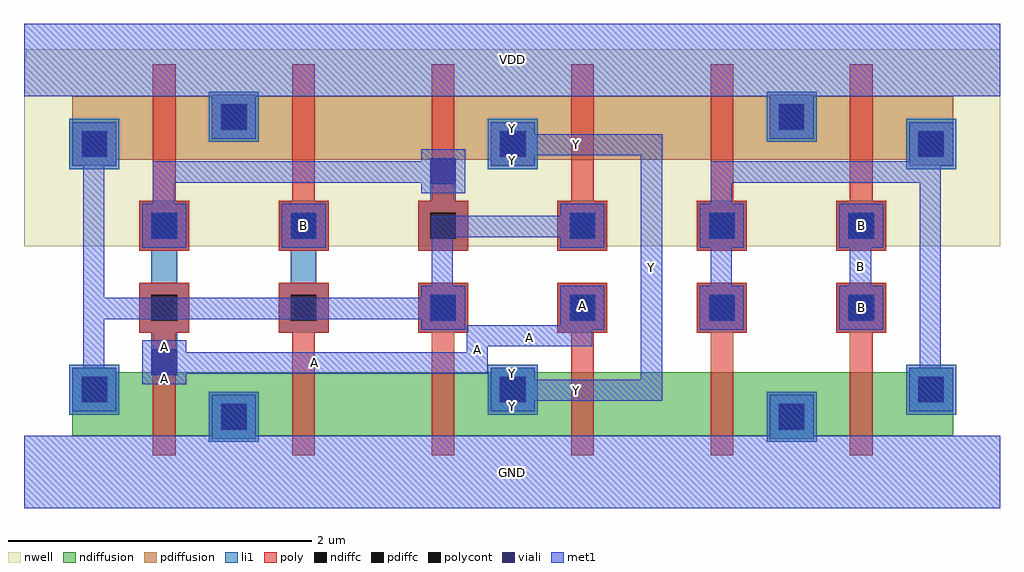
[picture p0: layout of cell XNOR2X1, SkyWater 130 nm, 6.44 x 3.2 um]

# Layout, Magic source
magic
# Generated by librecell
tech sky130A
<< nwell >>
rect 0 149 644 272
rect 1 272 644 279
<< viali >>
rect 130 28 147 45
rect 498 28 515 45
rect 38 46 55 63
rect 314 46 331 63
rect 590 46 607 63
rect 84 64 101 81
rect 268 100 285 117
rect 360 100 377 117
rect 452 100 469 117
rect 544 100 561 117
rect 84 154 101 171
rect 176 154 193 171
rect 360 154 377 171
rect 452 154 469 171
rect 544 154 561 171
rect 268 190 285 207
rect 38 208 55 225
rect 314 208 331 225
rect 590 208 607 225
rect 130 226 147 243
rect 498 226 515 243
<< poly >>
rect 85 11 100 92
rect 76 92 109 125
rect 177 11 192 92
rect 168 92 201 125
rect 269 11 284 92
rect 260 92 293 125
rect 361 11 376 92
rect 352 92 385 125
rect 453 11 468 92
rect 444 92 477 125
rect 545 11 560 92
rect 536 92 569 125
rect 76 146 109 179
rect 85 179 100 269
rect 168 146 201 179
rect 177 179 192 269
rect 260 146 293 179
rect 269 179 284 269
rect 352 146 385 179
rect 361 179 376 269
rect 444 146 477 179
rect 453 179 468 269
rect 536 146 569 179
rect 545 179 560 269
<< properties >>
string FIXED_BBOX 0 0 644 272
<< li1 >>
rect 122 20 155 53
rect 490 20 523 53
rect 30 38 63 71
rect 306 38 339 71
rect 582 38 615 71
rect 260 92 293 125
rect 352 92 385 125
rect 444 92 477 125
rect 536 92 569 125
rect 84 64 101 92
rect 76 92 109 125
rect 84 125 101 146
rect 76 146 109 179
rect 168 92 201 125
rect 176 125 193 146
rect 168 146 201 179
rect 352 146 385 179
rect 444 146 477 179
rect 536 146 569 179
rect 260 146 293 179
rect 268 179 285 207
rect 30 200 63 233
rect 306 200 339 233
rect 582 200 615 233
rect 122 218 155 251
rect 490 218 523 251
<< met1 >>
rect 0 -24 644 24
rect 124 24 153 51
rect 492 24 521 51
rect 78 58 107 65
rect 78 65 306 79
rect 292 79 306 83
rect 78 79 107 87
rect 292 83 375 94
rect 292 94 383 97
rect 354 97 383 123
rect 170 148 199 177
rect 538 94 567 123
rect 545 123 559 148
rect 538 148 567 177
rect 78 148 107 177
rect 85 177 99 191
rect 262 184 291 191
rect 85 191 291 205
rect 262 205 291 213
rect 32 40 61 69
rect 39 69 53 101
rect 262 94 291 101
rect 39 101 291 115
rect 262 115 291 123
rect 269 123 283 155
rect 354 148 383 155
rect 269 155 383 169
rect 354 169 383 177
rect 39 115 53 202
rect 32 202 61 231
rect 308 40 337 47
rect 308 47 421 61
rect 308 61 337 69
rect 308 202 337 209
rect 407 61 421 209
rect 308 209 421 223
rect 308 223 337 231
rect 584 40 613 69
rect 446 94 475 123
rect 453 123 467 148
rect 446 148 475 177
rect 453 177 467 191
rect 591 69 605 191
rect 453 191 605 202
rect 453 202 613 205
rect 584 205 613 231
rect 124 220 153 248
rect 492 220 521 248
rect 0 248 644 296
<< li1 >>
<< met1 >>
<< li1 >>
<< met1 >>
rect 0 -24 644 24
rect 78 58 107 65
rect 78 65 306 79
rect 292 79 306 83
rect 78 79 107 87
rect 292 83 375 94
rect 292 94 383 97
rect 354 97 383 123
rect 170 148 199 177
rect 308 40 337 47
rect 308 47 421 61
rect 308 61 337 69
rect 308 202 337 209
rect 407 61 421 209
rect 308 209 421 223
rect 308 223 337 231
rect 0 248 644 296
<< ndiffusion >>
rect 124 22 153 24
rect 492 22 521 24
rect 32 24 613 66
rect 32 66 61 69
rect 308 66 337 69
rect 584 66 613 69
<< pdiffusion >>
rect 32 202 61 206
rect 308 202 337 206
rect 584 202 613 206
rect 32 206 613 248
rect 124 248 153 249
rect 492 248 521 249
<< polycont >>
rect 84 100 101 117
rect 176 100 193 117
rect 268 100 285 117
rect 360 100 377 117
rect 452 100 469 117
rect 544 100 561 117
rect 84 154 101 171
rect 176 154 193 171
rect 268 154 285 171
rect 360 154 377 171
rect 452 154 469 171
rect 544 154 561 171
<< pdiffc >>
rect 38 208 55 225
rect 314 208 331 225
rect 590 208 607 225
rect 130 226 147 243
rect 498 226 515 243
<< ndiffc >>
rect 130 28 147 45
rect 498 28 515 45
rect 38 46 55 63
rect 314 46 331 63
rect 590 46 607 63
<< labels >>
rlabel metal2 0 248 644 296 0 VDD
port 1 se
rlabel metal2 0 -24 644 24 0 GND
port 2 se
rlabel metal2 308 40 337 47 0 Y
port 3 se
rlabel metal2 308 47 421 61 0 Y
port 4 se
rlabel metal2 308 61 337 69 0 Y
port 5 se
rlabel metal2 308 202 337 209 0 Y
port 6 se
rlabel metal2 407 61 421 209 0 Y
port 7 se
rlabel metal2 308 209 421 223 0 Y
port 8 se
rlabel metal2 308 223 337 231 0 Y
port 9 se
rlabel metal2 78 58 107 65 0 A
port 10 se
rlabel metal2 78 65 306 79 0 A
port 11 se
rlabel metal2 292 79 306 83 0 A
port 12 se
rlabel metal2 78 79 107 87 0 A
port 13 se
rlabel metal2 292 83 375 94 0 A
port 14 se
rlabel metal2 292 94 383 97 0 A
port 15 se
rlabel metal2 354 97 383 123 0 A
port 16 se
rlabel metal2 538 94 567 123 0 B
port 17 se
rlabel metal2 545 123 559 148 0 B
port 18 se
rlabel metal2 538 148 567 177 0 B
port 19 se
rlabel metal2 170 148 199 177 0 B
port 20 se
<< end >>
